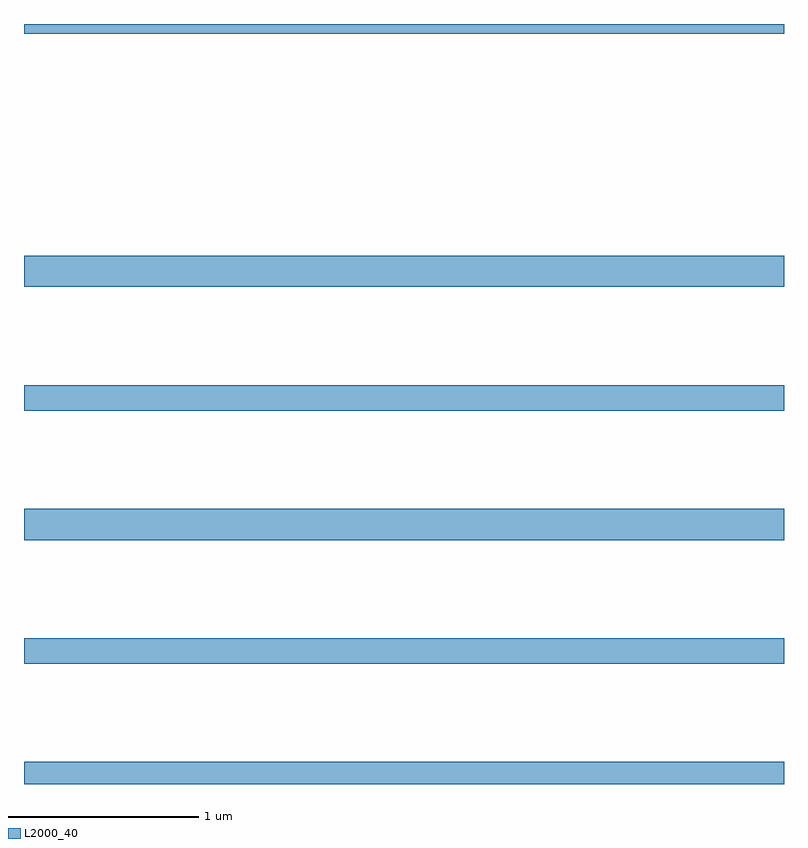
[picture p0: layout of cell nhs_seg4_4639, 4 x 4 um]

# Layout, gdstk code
import gdstk
lib = gdstk.Library(unit=1e-6, precision=1e-09)
def R(c, l, rs):  # rectangles x0, y0, x1, y1
    for r in rs: c.add(gdstk.rectangle(r[:2], r[2:], *l))
L2000_40 = (2000, 40)

nhs_seg4_4639 = lib.new_cell('nhs_seg4_4639')
R(nhs_seg4_4639, L2000_40, [(361,764.9,365,765.016), (361,765.532,365,765.668), (361,766.184,365,766.348), (361,766.864,365,767), (361,767.516,365,767.68), (361,768.848,365,768.9)])

lib.write_gds('nhs_seg4_4639.gds')
